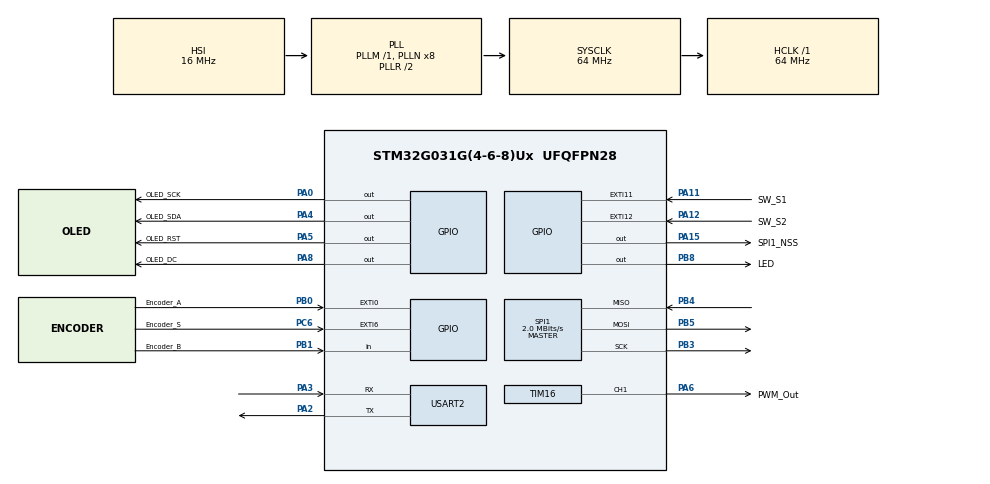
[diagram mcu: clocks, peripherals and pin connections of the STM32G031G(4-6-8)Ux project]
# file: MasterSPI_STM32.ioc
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Mcu.Family=STM32G0
Mcu.Name=STM32G031G(4-6-8)Ux
Mcu.Package=UFQFPN28
NVIC.EXTI0_1_IRQn=true\:0\:0\:false\:false\:true\:true\:true\:true
NVIC.EXTI4_15_IRQn=true\:0\:0\:false\:false\:true\:true\:true\:true
NVIC.TIM14_IRQn=true\:0\:0\:false\:false\:true\:true\:true\:true
PA0.GPIO_Label=OLED_SCK
PA0.Signal=GPIO_Output
PA11\ [PA9].GPIO_Label=SW_S1
PA11\ [PA9].GPIO_ModeDefaultEXTI=GPIO_MODE_IT_FALLING
PA11\ [PA9].GPIO_PuPd=GPIO_PULLUP
PA11\ [PA9].Signal=GPXTI11
PA12\ [PA10].GPIO_Label=SW_S2
PA12\ [PA10].GPIO_PuPd=GPIO_PULLUP
PA12\ [PA10].Signal=GPXTI12
PA15.GPIO_Label=SPI1_NSS
PA15.Signal=GPIO_Output
PA2.Mode=Asynchronous
PA2.Signal=USART2_TX
PA3.Mode=Asynchronous
PA3.Signal=USART2_RX
PA4.GPIO_Label=OLED_SDA
PA4.Signal=GPIO_Output
PA5.GPIO_Label=OLED_RST
PA5.Signal=GPIO_Output
PA6.GPIO_Label=PWM_Out
PA6.Signal=S_TIM16_CH1
PA8.GPIO_Label=OLED_DC
PA8.Signal=GPIO_Output
PB0.GPIO_Label=Encoder_A
PB0.GPIO_ModeDefaultEXTI=GPIO_MODE_IT_RISING_FALLING
PB0.GPIO_PuPd=GPIO_PULLUP
PB0.Signal=GPXTI0
PB1.GPIO_Label=Encoder_B
PB1.GPIO_PuPd=GPIO_PULLUP
PB1.Signal=GPIO_Input
PB3.Mode=Full_Duplex_Master
PB3.Signal=SPI1_SCK
PB4.Mode=Full_Duplex_Master
PB4.Signal=SPI1_MISO
PB5.Mode=Full_Duplex_Master
PB5.Signal=SPI1_MOSI
PB8.GPIO_Label=LED
PB8.PinState=GPIO_PIN_SET
PB8.Signal=GPIO_Output
PC6.GPIO_Label=Encoder_S
PC6.GPIO_ModeDefaultEXTI=GPIO_MODE_IT_FALLING
PC6.GPIO_PuPd=GPIO_PULLUP
PC6.Signal=GPXTI6
ProjectManager.HeapSize=0x200
ProjectManager.StackSize=0x400
ProjectManager.TargetToolchain=MDK-ARM V5.32
RCC.ADCFreq_Value=64000000
RCC.AHBFreq_Value=64000000
RCC.CortexFreq_Value=64000000
RCC.EXTERNAL_CLOCK_VALUE=12288000
RCC.HCLKFreq_Value=64000000
RCC.HSE_VALUE=12000000
RCC.HSI_VALUE=16000000
RCC.LSE_VALUE=32768
RCC.SYSCLKFreq_VALUE=64000000
RCC.SYSCLKSource=RCC_SYSCLKSOURCE_PLLCLK
RCC.VCOOutputFreq_Value=128000000
SH.S_TIM16_CH1.0=TIM16_CH1,PWM Generation1 CH1
SPI1.BaudRatePrescaler=SPI_BAUDRATEPRESCALER_32
SPI1.CalculateBaudRate=2.0 MBits/s
SPI1.Direction=SPI_DIRECTION_2LINES
SPI1.FirstBit=SPI_FIRSTBIT_LSB
SPI1.Mode=SPI_MODE_MASTER
SPI1.NSSPMode=SPI_NSS_PULSE_DISABLE
SPI1.VirtualType=VM_MASTER
TIM14.Period=250-1
TIM14.Prescaler=64000-1
TIM16.Channel=TIM_CHANNEL_1
TIM16.Period=1000
TIM16.Prescaler=48-1
TIM16.Pulse=500
USART2.VirtualMode-Asynchronous=VM_ASYNC
VP_TIM14_VS_ClockSourceINT.Mode=Enable_Timer
VP_TIM16_VS_ClockSourceINT.Mode=Enable_Timer
board=custom

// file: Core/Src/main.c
/* USER CODE BEGIN Header */
 /**
   ******************************************************************************
   * @file           : main.c
   * @brief          : Main program body
   ******************************************************************************
   * @attention
   *
   * Copyright (c) 2023 STMicroelectronics.
   * All rights reserved.
   *
   * This software is licensed under terms that can be found in the LICENSE file
   * in the root directory of this software component.
   * If no LICENSE file comes with this software, it is provided AS-IS.
   *
   ******************************************************************************
   */
   /* USER CODE END Header */
   /* Includes ------------------------------------------------------------------*/
#include "main.h"
#include "spi.h"
#include "tim.h"
#include "usart.h"
#include "gpio.h"

/* USER CODE BEGIN Includes */
#include "Rotary_Encoder.h"
#include "ssd1306.h"
#include "stdio.h"
#include "spi_lib.h"
#include "spi_host.h"
#include "menu.h"
#include "ddsCtrl.h"
/* USER CODE END Includes */

/* USER CODE BEGIN PV */
extern MenuList Menu;
/* USER CODE END PV */

void SystemClock_Config(void);

int main(void)
{

  /* MCU Configuration--------------------------------------------------------*/

  /* Reset of all peripherals, Initializes the Flash interface and the Systick. */
  HAL_Init();

  /* Configure the system clock */
  SystemClock_Config();

  /* Initialize all configured peripherals */
  MX_GPIO_Init();
  MX_SPI1_Init();
  MX_TIM16_Init();
  MX_USART2_UART_Init();
  MX_TIM14_Init();
  /* USER CODE BEGIN 2 */
  printf("HelloWorld!\n");
  HAL_GPIO_WritePin(SPI1_NSS_GPIO_Port, SPI1_NSS_Pin, GPIO_PIN_SET);
  HAL_GPIO_WritePin(SPI1_NSS_GPIO_Port, SPI1_NSS_Pin, GPIO_PIN_RESET);
  HAL_GPIO_WritePin(SPI1_NSS_GPIO_Port, SPI1_NSS_Pin, GPIO_PIN_SET);
  // HAL_TIM_Base_Start_IT(&htim14);
  Menu.Inited = 0;
  ssd1306_Init();
  Menu_Init();
  HAL_Delay(500);

  HAL_TIM_Base_Start_IT(&htim14);

  /* USER CODE END 2 */

  /* Infinite loop */
  /* USER CODE BEGIN WHILE */
  while (1)
  {
    if (Menu.encFlg || Menu.switchFlg) {
      callBackingBtns();
    }
    if (Menu.Switches.SwitchAction != Waiting) {
      ModifieDDS();
    }
    //		TestSpiFpga();

        /* USER CODE END WHILE */

  }
}

void SystemClock_Config(void)
{
  RCC_OscInitTypeDef RCC_OscInitStruct = { 0 };
  RCC_ClkInitTypeDef RCC_ClkInitStruct = { 0 };

  /** Configure the main internal regulator output voltage
  */
  HAL_PWREx_ControlVoltageScaling(PWR_REGULATOR_VOLTAGE_SCALE1);

  /** Initializes the RCC Oscillators according to the specified parameters
  * in the RCC_OscInitTypeDef structure.
  */
  RCC_OscInitStruct.OscillatorType = RCC_OSCILLATORTYPE_HSI;
  RCC_OscInitStruct.HSIState = RCC_HSI_ON;
  RCC_OscInitStruct.HSIDiv = RCC_HSI_DIV1;
  RCC_OscInitStruct.HSICalibrationValue = RCC_HSICALIBRATION_DEFAULT;
  RCC_OscInitStruct.PLL.PLLState = RCC_PLL_ON;
  RCC_OscInitStruct.PLL.PLLSource = RCC_PLLSOURCE_HSI;
  RCC_OscInitStruct.PLL.PLLM = RCC_PLLM_DIV1;
  RCC_OscInitStruct.PLL.PLLN = 8;
  RCC_OscInitStruct.PLL.PLLP = RCC_PLLP_DIV2;
  RCC_OscInitStruct.PLL.PLLQ = RCC_PLLQ_DIV2;
  RCC_OscInitStruct.PLL.PLLR = RCC_PLLR_DIV2;
  if (HAL_RCC_OscConfig(&RCC_OscInitStruct) != HAL_OK)
  {
    Error_Handler();
  }

  /** Initializes the CPU, AHB and APB buses clocks
  */
  RCC_ClkInitStruct.ClockType = RCC_CLOCKTYPE_HCLK | RCC_CLOCKTYPE_SYSCLK
    | RCC_CLOCKTYPE_PCLK1;
  RCC_ClkInitStruct.SYSCLKSource = RCC_SYSCLKSOURCE_PLLCLK;
  RCC_ClkInitStruct.AHBCLKDivider = RCC_SYSCLK_DIV1;
  RCC_ClkInitStruct.APB1CLKDivider = RCC_HCLK_DIV1;

  if (HAL_RCC_ClockConfig(&RCC_ClkInitStruct, FLASH_LATENCY_2) != HAL_OK)
  {
    Error_Handler();
  }
}

void Error_Handler(void)
{
  __disable_irq();
  while (1)
  {
  }
}
